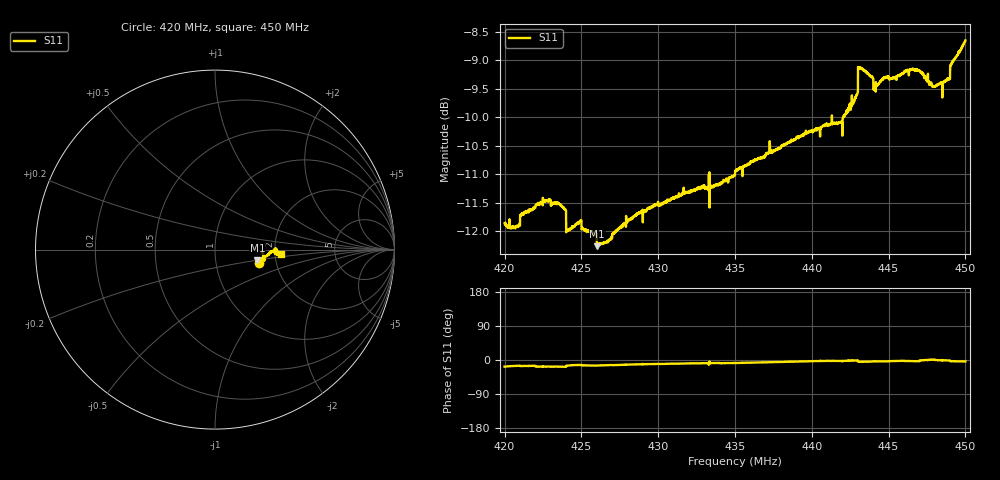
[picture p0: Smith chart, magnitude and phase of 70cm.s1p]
! Calibrated averaged scanner-service zoom
# Hz S RI R 50
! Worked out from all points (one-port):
!   3001 points, 420 MHz to 450 MHz, reference 50 ohm
!   lowest |S11| = -12.3 dB at 426 MHz (marker M1), VSWR 1.64, Z = 80.1 - j10.3 ohm
!   |S11| at or under -10 dB: start of sweep to 441.3 MHz; 441.3124 MHz to 442.0441 MHz (731.7 kHz wide, 0.166 % of centre)
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4.2e8  0.2435 -0.0766
4.2085e8  0.2448 -0.0669
4.2116e8  0.2504 -0.0712
4.2185e8  0.2531 -0.0701
4.2247e8  0.254 -0.0801
4.2375e8  0.2517 -0.0795
4.2385e8  0.2507 -0.0807
4.2416e8  0.2438 -0.0628
4.2485e8  0.2491 -0.0584
4.2602e8  0.2362 -0.0603
4.2666e8  0.2395 -0.0581
4.275e8  0.2467 -0.0566
4.3125e8  0.2654 -0.0446
4.35e8  0.2785 -0.0391
4.3875e8  0.3009 -0.0236
4.4185e8  0.3129 -0.0138
4.425e8  0.3242 -0.0108
4.4285e8  0.3288 -0.00712
4.4316e8  0.3484 -0.0288
4.4416e8  0.3325 -0.0194
4.4625e8  0.3472 -0.0165
4.4685e8  0.3474 -0.0196
4.4716e8  0.3459 -0.00529
4.4785e8  0.3367 0.00482
4.4863e8  0.3397 -0.00516
4.4885e8  0.3413 -0.0064
4.4916e8  0.3538 -0.0199
4.5e8  0.3687 -0.0236
